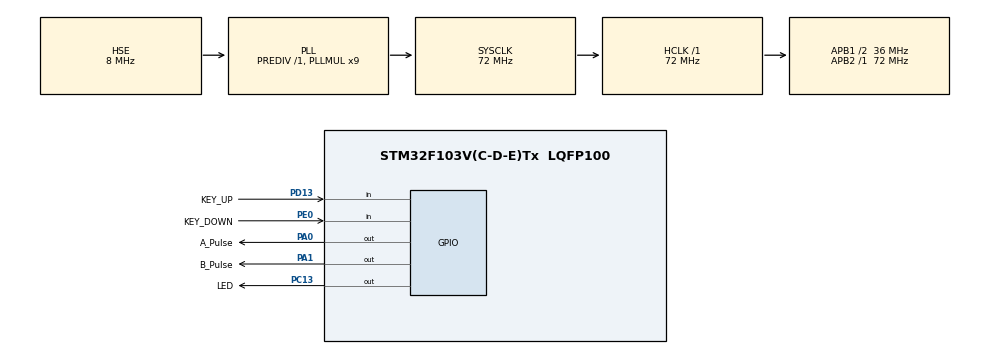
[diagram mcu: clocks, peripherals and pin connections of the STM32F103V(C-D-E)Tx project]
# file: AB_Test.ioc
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Mcu.Family=STM32F1
Mcu.Name=STM32F103V(C-D-E)Tx
Mcu.Package=LQFP100
NVIC.PriorityGroup=NVIC_PRIORITYGROUP_4
OSC_IN.Mode=HSE-External-Oscillator
OSC_IN.Signal=RCC_OSC_IN
OSC_OUT.Mode=HSE-External-Oscillator
OSC_OUT.Signal=RCC_OSC_OUT
PA0-WKUP.GPIO_Label=A_Pulse
PA0-WKUP.Signal=GPIO_Output
PA1.GPIO_Label=B_Pulse
PA1.Signal=GPIO_Output
PA13.Mode=Serial_Wire
PA13.Signal=SYS_JTMS-SWDIO
PA14.Mode=Serial_Wire
PA14.Signal=SYS_JTCK-SWCLK
PC13-TAMPER-RTC.GPIO_Label=LED
PC13-TAMPER-RTC.Signal=GPIO_Output
PD13.GPIO_Label=KEY_UP
PD13.Signal=GPIO_Input
PE0.GPIO_Label=KEY_DOWN
PE0.Signal=GPIO_Input
ProjectManager.HeapSize=0x200
ProjectManager.StackSize=0x400
ProjectManager.TargetToolchain=MDK-ARM V5.32
RCC.AHBFreq_Value=72000000
RCC.APB1CLKDivider=RCC_HCLK_DIV2
RCC.APB1Freq_Value=36000000
RCC.APB1TimFreq_Value=72000000
RCC.APB2Freq_Value=72000000
RCC.APB2TimFreq_Value=72000000
RCC.HCLKFreq_Value=72000000
RCC.PLLMUL=RCC_PLL_MUL9
RCC.PLLSourceVirtual=RCC_PLLSOURCE_HSE
RCC.SYSCLKFreq_VALUE=72000000
RCC.SYSCLKSource=RCC_SYSCLKSOURCE_PLLCLK
RCC.USBFreq_Value=72000000
board=custom

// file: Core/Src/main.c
/* USER CODE BEGIN Header */
/**
  ******************************************************************************
  * @file           : main.c
  * @brief          : Main program body
  ******************************************************************************
  * @attention
  *
  * Copyright (c) 2022 STMicroelectronics.
  * All rights reserved.
  *
  * This software is licensed under terms that can be found in the LICENSE file
  * in the root directory of this software component.
  * If no LICENSE file comes with this software, it is provided AS-IS.
  *
  ******************************************************************************
  */
/* USER CODE END Header */
#include "main.h"

/* USER CODE BEGIN Includes */
#include <rtthread.h>
/* USER CODE END Includes */

/* USER CODE BEGIN PTD */
Key g_key_up, g_key_down;
Pulse g_pulse;
/* USER CODE END PTD */

/* USER CODE BEGIN PD */
#define PULSE_CNT  2500
/* USER CODE END PD */

void SystemClock_Config(void);
static void MX_GPIO_Init(void);

uint16_t g_led_cnt;

/* USER CODE BEGIN PFP */
static void task_key_check(void *parameter)
{
    while (1)
    {
        if (g_key_up.state == Key_None)
        {
            if (KEY_UP())
            {
                g_key_up.press_time++;

                if (g_key_up.press_time >= 5 * 1)
                {
                    g_key_up.press_time = 0;

                    if (KEY_UP())
                    {
                        g_key_up.state = Key_Press;
                    }
                }
            }
            else
            {
                g_key_up.press_time = 0;
            }
        }

        if (g_key_down.state == Key_None)
        {
            if (KEY_DOWN())
            {
                g_key_down.press_time++;

                if (g_key_down.press_time >= 5 * 1)
                {
                    g_key_down.press_time = 0;

                    if (KEY_DOWN())
                    {
                        g_key_down.state = Key_Press;
                    }
                }
            }
            else
            {
                g_key_down.press_time = 0;
            }
        }

        if (g_key_up.state == Key_Press)
        {
            if (!KEY_UP())
            {
                g_key_up.press_time++;

                if (g_key_up.press_time >= 5 * 1)
                {
                    g_key_up.press_time = 0;

                    if (!KEY_UP())
                    {
                        g_key_up.state = Key_Release;
                    }
                }
            }
        }

        if (g_key_down.state == Key_Press)
        {
            if (!KEY_DOWN())
            {
                g_key_down.press_time++;

                if (g_key_down.press_time >= 5 * 1)
                {
                    g_key_down.press_time = 0;

                    if (!KEY_DOWN())
                    {
                        g_key_down.state = Key_Release;
                    }
                }
            }
        }

        if (g_key_up.state == Key_Release)
        {
            if (!KEY_UP())
            {
                g_key_up.press_time++;

                if (g_key_up.press_time >= 5 * 1)
                {
                    g_key_up.press_time = 0;

                    if (!KEY_UP())
                    {
                        g_key_up.state = Key_None;
                    }
                }
            }
        }

        if (g_key_down.state == Key_Release)
        {
            if (!KEY_DOWN())
            {
                g_key_down.press_time++;

                if (g_key_down.press_time >= 5 * 1)
                {
                    g_key_down.press_time = 0;

                    if (!KEY_DOWN())
                    {
                        g_key_down.state = Key_None;
                    }
                }
            }
        }

        g_led_cnt++;

        if (g_led_cnt >= 50)
        {
            g_led_cnt = 0;
            Led_Toggle();
        }

        rt_thread_delay(1);
    }
}

static void task_pulse_produce(void *parameter)
{
    while (1)
    {
        if (g_pulse.state == Pulse_None)
        {
            if (g_key_up.state == Key_Press)
            {
                g_pulse.state = Pulse_Work;
                g_pulse.polarity = 1;
                continue;
            }

            if (g_key_down.state == Key_Press)
            {
                g_pulse.state = Pulse_Work;
                g_pulse.polarity = 0;
                continue;
            }
        }

        if (g_pulse.state == Pulse_Work)
        {
            if (g_pulse.polarity)
            {
                if (g_pulse.pulse_time == 4)
                {
                    g_pulse.pulse_time = 0;

                    g_pulse.count++;

                    if (g_pulse.count == PULSE_CNT)
                    {
                        g_pulse.count = 0;
                        g_pulse.state = Pulse_NoWork;
                        continue;
                    }
                }

                if (g_pulse.pulse_time == 0)
                {
                    g_pulse.pulse_time = 0;
                    A_High();
                    B_Low();
                }

                if (g_pulse.pulse_time == 1)
                {
                    B_High();
                }

                if (g_pulse.pulse_time == 2)
                {
                    A_Low();
                }

                if (g_pulse.pulse_time == 3)
                {
                    B_Low();
                }

                g_pulse.pulse_time++;
            }
            else
            {

                if (g_pulse.pulse_time == 4)
                {
                    g_pulse.pulse_time = 0;
                    g_pulse.count++;

                    if (g_pulse.count == PULSE_CNT)
                    {
                        g_pulse.count = 0;
                        g_pulse.state = Pulse_NoWork;
                        continue;
                    }
                }

                if (g_pulse.pulse_time == 0)
                {
                    g_pulse.pulse_time = 0;
                    B_High();
                    A_Low();
                }

                if (g_pulse.pulse_time == 1)
                {
                    A_High();
                }

                if (g_pulse.pulse_time == 2)
                {
                    B_Low();
                }

                if (g_pulse.pulse_time == 3)
                {
                    A_Low();
                }

                g_pulse.pulse_time++;
            }
        }

        if (g_pulse.state == Pulse_NoWork)
        {
            if (g_key_up.state == Key_None && g_key_down.state == Key_None)
            {
                g_pulse.state = Pulse_None;
            }
        }

        rt_thread_delay(10);
    }
}
/* USER CODE END PFP */

/* USER CODE BEGIN 0 */
static  rt_thread_t key_thread = RT_NULL;
static  rt_thread_t pulse_thread = RT_NULL;
/* USER CODE END 0 */

int main(void)
{

    /* MCU Configuration--------------------------------------------------------*/

    /* Reset of all peripherals, Initializes the Flash interface and the Systick. */
    HAL_Init();

    /* Configure the system clock */
    SystemClock_Config();

    /* Initialize all configured peripherals */
    MX_GPIO_Init();

    A_Low();
    B_Low();
    /* USER CODE BEGIN 2 */
    key_thread = rt_thread_create("key_check", task_key_check, RT_NULL, 512, 1, 1);

    if (key_thread != NULL)
    {
        rt_thread_startup(key_thread);
    }

    pulse_thread = rt_thread_create("pulse_produce", task_pulse_produce, RT_NULL, 512, 1, 1);

    if (pulse_thread != NULL)
    {
        rt_thread_startup(pulse_thread);
    }

    /* USER CODE END 2 */

    /* Infinite loop */
    while (1)
    {

    }
}

void SystemClock_Config(void)
{
    RCC_OscInitTypeDef RCC_OscInitStruct = {0};
    RCC_ClkInitTypeDef RCC_ClkInitStruct = {0};

    /** Initializes the RCC Oscillators according to the specified parameters
    * in the RCC_OscInitTypeDef structure.
    */
    RCC_OscInitStruct.OscillatorType = RCC_OSCILLATORTYPE_HSE;
    RCC_OscInitStruct.HSEState = RCC_HSE_ON;
    RCC_OscInitStruct.HSEPredivValue = RCC_HSE_PREDIV_DIV1;
    RCC_OscInitStruct.HSIState = RCC_HSI_ON;
    RCC_OscInitStruct.PLL.PLLState = RCC_PLL_ON;
    RCC_OscInitStruct.PLL.PLLSource = RCC_PLLSOURCE_HSE;
    RCC_OscInitStruct.PLL.PLLMUL = RCC_PLL_MUL9;

    if (HAL_RCC_OscConfig(&RCC_OscInitStruct) != HAL_OK)
    {
        Error_Handler();
    }

    /** Initializes the CPU, AHB and APB buses clocks
    */
    RCC_ClkInitStruct.ClockType = RCC_CLOCKTYPE_HCLK | RCC_CLOCKTYPE_SYSCLK
                                  | RCC_CLOCKTYPE_PCLK1 | RCC_CLOCKTYPE_PCLK2;
    RCC_ClkInitStruct.SYSCLKSource = RCC_SYSCLKSOURCE_PLLCLK;
    RCC_ClkInitStruct.AHBCLKDivider = RCC_SYSCLK_DIV1;
    RCC_ClkInitStruct.APB1CLKDivider = RCC_HCLK_DIV2;
    RCC_ClkInitStruct.APB2CLKDivider = RCC_HCLK_DIV1;

    if (HAL_RCC_ClockConfig(&RCC_ClkInitStruct, FLASH_LATENCY_2) != HAL_OK)
    {
        Error_Handler();
    }
}

static void MX_GPIO_Init(void)
{
    GPIO_InitTypeDef GPIO_InitStruct = {0};

    /* GPIO Ports Clock Enable */
    __HAL_RCC_GPIOC_CLK_ENABLE();
    __HAL_RCC_GPIOA_CLK_ENABLE();
    __HAL_RCC_GPIOD_CLK_ENABLE();
    __HAL_RCC_GPIOE_CLK_ENABLE();

    /*Configure GPIO pin Output Level */
    HAL_GPIO_WritePin(GPIOC, GPIO_PIN_13, GPIO_PIN_RESET);

    /*Configure GPIO pin Output Level */
    HAL_GPIO_WritePin(GPIOA, GPIO_PIN_0 | GPIO_PIN_1, GPIO_PIN_RESET);

    /*Configure GPIO pin : PC13 */
    GPIO_InitStruct.Pin = GPIO_PIN_13;
    GPIO_InitStruct.Mode = GPIO_MODE_OUTPUT_PP;
    GPIO_InitStruct.Pull = GPIO_NOPULL;
    GPIO_InitStruct.Speed = GPIO_SPEED_FREQ_LOW;
    HAL_GPIO_Init(GPIOC, &GPIO_InitStruct);

    /*Configure GPIO pins : PA0 PA1 */
    GPIO_InitStruct.Pin = GPIO_PIN_0 | GPIO_PIN_1;
    GPIO_InitStruct.Mode = GPIO_MODE_OUTPUT_PP;
    GPIO_InitStruct.Pull = GPIO_NOPULL;
    GPIO_InitStruct.Speed = GPIO_SPEED_FREQ_LOW;
    HAL_GPIO_Init(GPIOA, &GPIO_InitStruct);

    /*Configure GPIO pin : PD13 */
    GPIO_InitStruct.Pin = GPIO_PIN_13;
    GPIO_InitStruct.Mode = GPIO_MODE_INPUT;
    GPIO_InitStruct.Pull = GPIO_NOPULL;
    HAL_GPIO_Init(GPIOD, &GPIO_InitStruct);

    /*Configure GPIO pin : PE0 */
    GPIO_InitStruct.Pin = GPIO_PIN_0;
    GPIO_InitStruct.Mode = GPIO_MODE_INPUT;
    GPIO_InitStruct.Pull = GPIO_NOPULL;
    HAL_GPIO_Init(GPIOE, &GPIO_InitStruct);

}

void Error_Handler(void)
{
    __disable_irq();
    while (1)
    {
    }
}
